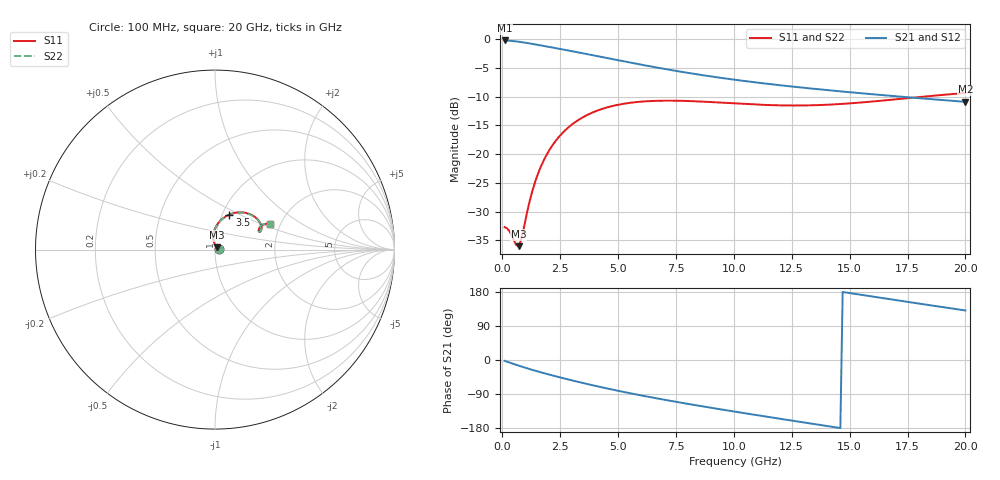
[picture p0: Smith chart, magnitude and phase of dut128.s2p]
! Touchstone file exported from HFSS 2023.1.0
!  File:  D:/Users/fzz/RDL_TSV/temp_RDL_TSV_128_1778751071.aedt
!  Generated:  5:42:15 %x4E0B%x5348  5%x6708 14, 2026
!  Design:  RDL_TSV
!  Project:  temp_RDL_TSV_128_1778751071
!  Setup:  Setup1
!  Solution:  Sweep
! Variables:
!  dtsv = 19.11um
!  hbump = 3um
!  htsv = 50.89um
!  ldown = 696.75um
!  lrdl = 333.5um
!  p = 40
!  p1 = 56.93um
!  rhole = 10um
!  subl = 3424.25um
!  t = 450um
!  tdown = 2.2um
!  trdl = 4.77um
!  viad = 10um
!  wdown = 16.86um
!  wrdl = 26.13um
!  xbump = 18um
# GHz S MA R 50.000000
! Terminal data exported
! Port[1] = TM1_1_T1
! Port[2] = TM1_4_T1
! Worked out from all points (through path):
!   200 points, 100 MHz to 20 GHz, reference 50 ohm
!   highest |S21| = -0.21 dB at 100 MHz (marker M1); lowest = -10.9 dB at 20 GHz (marker M2)
!   group delay of S21, straight-line fit = 29.9 ps
!   lowest |S11| = -36.0 dB at 700 MHz (marker M3), VSWR 1.03, Z = 51 + j1.25 ohm
!   |S11| at or under -10 dB: start of sweep to 18.15 GHz
!   |S22| runs from -36.0 to -9.4 dB; largest |S21 - S12| = 1.5e-13
!   S11 on the Smith chart (normalised r, x): 100 MHz: 1.05, +0.00; 3.5 GHz: 1.08, +0.44; 20 GHz: 1.78, +0.57
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0.1  0.02318 3.0  0.9759 -2.2  0.9759 -2.2  0.02318 3.0
! Gamma 0 0 0 0
! Port Impedance 50 0 50 0
0.3  0.02157 8.9  0.9708 -6.5  0.9708 -6.5  0.02157 8.9
0.6  0.01619 33.7  0.9574 -12.7  0.9574 -12.7  0.01621 33.6
0.7  0.01585 50.7  0.9517 -14.8  0.9517 -14.8  0.01585 50.5
0.8  0.01758 68.3  0.9456 -16.7  0.9456 -16.7  0.01757 68.1
1.1  0.03325 95.5  0.9252 -22.5  0.9252 -22.5  0.03317 95.4
1.3  0.04801 99.2  0.9108 -26.1  0.9108 -26.1  0.0479 99.1
1.5  0.06412 98.8  0.896 -29.6  0.896 -29.6  0.06398 98.7
1.8  0.08919 95.3  0.8738 -34.7  0.8738 -34.7  0.08898 95.2
2.1  0.1141 90.5  0.8518 -39.7  0.8518 -39.7  0.1138 90.5
2.5  0.1455 83.7  0.823 -46.0  0.823 -46.0  0.1452 83.7
3  0.1808 75.4  0.7878 -53.7  0.7878 -53.7  0.1803 75.4
3.5  0.2107 67.8  0.7535 -61.0  0.7535 -61.0  0.2101 67.7
4.3  0.2474 57.0  0.7007 -72.1  0.7007 -72.1  0.2466 57.0
5.2  0.2738 47.0  0.6455 -83.8  0.6455 -83.8  0.2728 46.9
6.8  0.2918 33.9  0.5614 -102.7  0.5614 -102.7  0.2905 33.8
8.4  0.2882 25.9  0.4957 -119.8  0.4957 -119.8  0.2867 25.9
10.1  0.276 22.1  0.4426 -136.8  0.4426 -136.8  0.2743 22.1
11.7  0.2669 21.9  0.4041 -152.3  0.4041 -152.3  0.2651 22.0
13.4  0.2664 24.0  0.3715 -168.4  0.3715 -168.4  0.2648 24.2
16.7  0.2962 27.3  0.3229 160.8  0.3229 160.8  0.2951 27.6
20  0.3406 24.8  0.2855 130.7  0.2855 130.7  0.34 25.1
